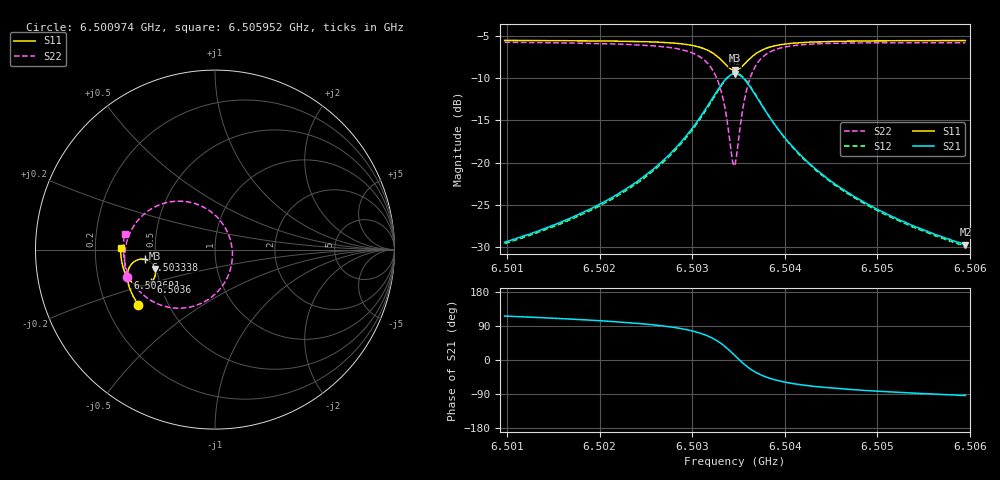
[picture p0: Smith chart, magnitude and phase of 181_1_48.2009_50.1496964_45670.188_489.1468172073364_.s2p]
#  HZ  S  RI  R  50.00
! Rohde & Schwarz Vector Network Analyzer
! Rohde-Schwarz,ZNB20-2Port,1311601062101988,3.16
! Created: UTC 3/20/2024, 11:44:07 AM
! freq[Hz]  re:S11  im:S11  re:S21  im:S21  re:S12  im:S12  re:S22  im:S22
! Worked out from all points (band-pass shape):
!   401 points, 6.500974 GHz to 6.505952 GHz, reference 50 ohm
!   highest |S21| = -9.50 dB at 6.503463 GHz (marker M1); lowest = -29.7 dB at 6.505952 GHz (marker M2)
!   |S21| within 3 dB of the highest: 6.503213 GHz to 6.503711 GHz (497.8 kHz wide, 0.00765 % of centre)
!   lowest |S11| = -9.1 dB at 6.503463 GHz (marker M3), VSWR 2.08, Z = 24.5 - j5.89 ohm
!   |S11| at or under -10 dB: nowhere
!   |S22| runs from -20.4 to -5.8 dB; largest |S21 - S12| = 0.012
!   S11 on the Smith chart (normalised r, x): 6.500974 GHz: 0.34, -0.29; 6.502691 GHz: 0.33, -0.14; 6.503338 GHz: 0.44, -0.06; 6.5036 GHz: 0.45, -0.19; 6.505952 GHz: 0.31, +0.01
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6.5009735e9  -0.4272 -0.3077  -0.0149 0.0304  -0.0132 0.0305  -0.4907 -0.1517
6.5018074e9  -0.463 -0.2459  -0.0142 0.0485  -0.0117 0.0479  -0.5034 -0.0627
6.5022679e9  -0.479 -0.2048  -0.0112 0.068  -0.00806 0.0669  -0.4999 0.00356
6.5026412e9  -0.4877 -0.1631  -0.00189 0.0977  0.00174 0.0954  -0.4798 0.0789
6.502691e9  -0.4881 -0.1565  0.000604 0.1036  0.00432 0.1009  -0.4742 0.0917
6.5029523e9  -0.4838 -0.1153  0.0271 0.145  0.0308 0.1404  -0.419 0.1748
6.503139e9  -0.4619 -0.0771  0.0823 0.1876  0.0846 0.1813  -0.3135 0.2477
6.503251e9  -0.4286 -0.0563  0.1527 0.2051  0.1534 0.1987  -0.1865 0.2696
6.5033382e9  -0.3874 -0.055  0.2336 0.1882  0.2337 0.183  -0.047 0.2274
6.5034253e9  -0.3451 -0.0837  0.311 0.1142  0.3134 0.1094  0.0764 0.0814
6.5034502e9  -0.3371 -0.0979  0.3244 0.0824  0.3273 0.0772  0.0931 0.0221
6.5034626e9  -0.3344 -0.1055  0.3286 0.0657  0.3318 0.0599  0.0968 -0.00911
6.5034875e9  -0.3314 -0.1216  0.3319 0.0315  0.3356 0.0245  0.0941 -0.0718
6.5035248e9  -0.3337 -0.1452  0.3246 -0.0183  0.3277 -0.0272  0.0669 -0.1594
6.5035995e9  -0.3559 -0.1817  0.2785 -0.0935  0.2779 -0.105  -0.0423 -0.2808
6.5036991e9  -0.3962 -0.2007  0.201 -0.1364  0.1959 -0.1462  -0.1994 -0.3266
6.5038609e9  -0.4448 -0.193  0.1142 -0.1359  0.1071 -0.1413  -0.3577 -0.2829
6.5040351e9  -0.4738 -0.1718  0.0668 -0.1154  0.0604 -0.1179  -0.4347 -0.2163
6.5042964e9  -0.4959 -0.1403  0.0341 -0.0893  0.0294 -0.0895  -0.4818 -0.139
6.5046574e9  -0.5112 -0.1023  0.0154 -0.066  0.0119 -0.0658  -0.5039 -0.0658
6.5051303e9  -0.5209 -0.0583  0.0051 -0.0488  0.00277 -0.048  -0.5106 0.00224
6.5059517e9  -0.5259 0.0113  -0.00211 -0.0327  -0.00337 -0.0319  -0.5027 0.0897
